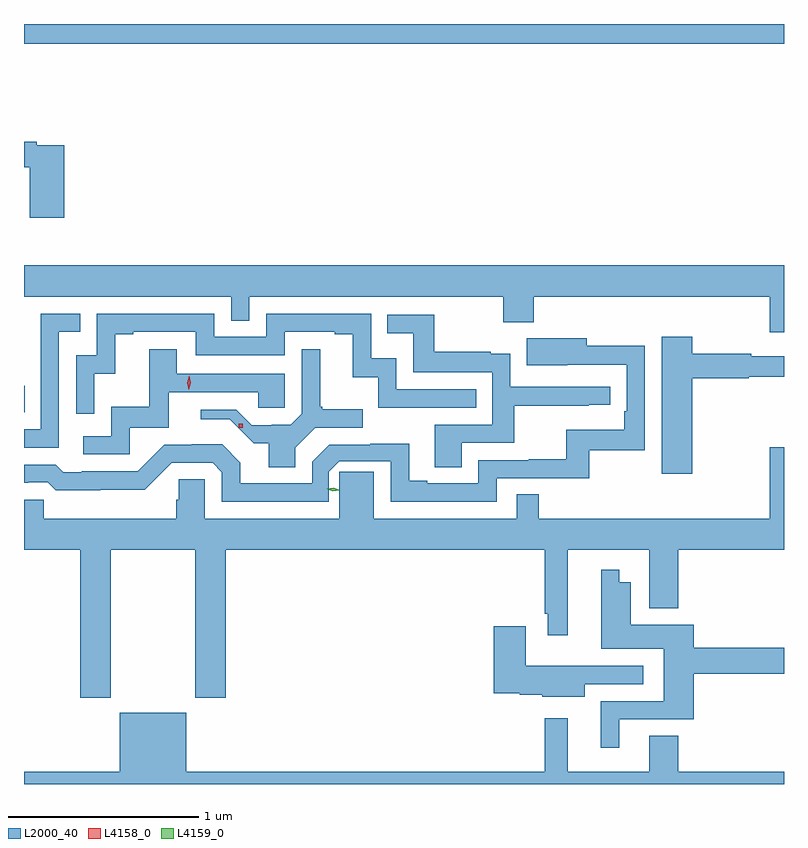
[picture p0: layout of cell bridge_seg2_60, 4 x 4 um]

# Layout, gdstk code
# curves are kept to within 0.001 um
import gdstk
lib = gdstk.Library(unit=1e-6, precision=1e-09)
def R(c, l, rs):  # rectangles x0, y0, x1, y1
    for r in rs: c.add(gdstk.rectangle(r[:2], r[2:], *l))
def P(c, l, *ps):  # polygons
    for p in ps: c.add(gdstk.Polygon(p, *l))
L2000_40 = (2000, 40)
L4158_0 = (4158, 0)
L4159_0 = (4159, 0)

bridge_seg2_60 = lib.new_cell('bridge_seg2_60')
R(bridge_seg2_60, L2000_40, [(1000.244,629.711,1000.247,629.851), (1000.244,631.652,1004.244,631.755)])
P(bridge_seg2_60, L2000_40, [(1000.457,631.116),(1000.31,631.116),(1000.31,631.136),(1000.244,631.136),(1000.244,631),(1000.274,631),(1000.274,630.735),(1000.457,630.735)],
  [(1004.244,630.484),(1000.244,630.484),(1000.244,630.32),(1001.334,630.32),(1001.334,630.193),(1001.43,630.193),(1001.43,630.32),(1002.766,630.32),(1002.766,630.185),(1002.926,630.185),(1002.926,630.32),(1004.168,630.32),(1004.168,630.132),(1004.244,630.132)],
  [(1000.428,630.135),(1000.541,630.135),(1000.541,630.231),(1000.332,630.231),(1000.332,629.622),(1000.244,629.622),(1000.244,629.526),(1000.428,629.526)],
  [(1000.614,629.915),(1000.724,629.915),(1000.724,630.123),(1000.819,630.123),(1000.819,630.135),(1001.148,630.135),(1001.148,630.012),(1001.616,630.012),(1001.616,630.135),(1001.879,630.135),(1001.879,630.123),(1001.975,630.123),(1001.975,629.897),(1002.108,629.897),(1002.108,629.736),(1002.623,629.736),(1002.623,629.832),(1002.204,629.832),(1002.204,629.995),(1002.072,629.995),(1002.072,630.231),(1001.52,630.231),(1001.52,630.108),(1001.244,630.108),(1001.244,630.231),(1000.626,630.231),(1000.626,630.012),(1000.518,630.012),(1000.518,629.703),(1000.614,629.703)],
  [(1002.547,629.55),(1002.824,629.55),(1002.824,629.746),(1003.217,629.746),(1003.217,629.751),(1003.33,629.751),(1003.33,629.847),(1002.804,629.847),(1002.804,630.019),(1002.701,630.019),(1002.701,630.031),(1002.403,630.031),(1002.403,630.225),(1002.157,630.225),(1002.157,630.128),(1002.292,630.128),(1002.292,629.922),(1002.708,629.922),(1002.708,629.646),(1002.407,629.646),(1002.407,629.422),(1002.547,629.422)],
  [(1003.762,629.89),(1004.058,629.89),(1004.058,629.898),(1004.244,629.898),(1004.244,630.006),(1004.072,630.006),(1004.072,630.019),(1003.762,630.019),(1003.762,630.109),(1003.601,630.109),(1003.601,629.388),(1003.762,629.388)],
  [(1001.849,629.398),(1001.903,629.453),(1002.174,629.453),(1002.174,629.241),(1002.732,629.241),(1002.732,629.364),(1003.219,629.364),(1003.219,629.511),(1003.512,629.511),(1003.512,630.062),(1003.207,630.062),(1003.207,630.1),(1002.889,630.1),(1002.889,629.96),(1003.416,629.961),(1003.416,629.716),(1003.403,629.716),(1003.403,629.62),(1003.098,629.62),(1003.098,629.465),(1002.901,629.465),(1002.901,629.46),(1002.636,629.46),(1002.636,629.337),(1002.367,629.337),(1002.367,629.35),(1002.271,629.35),(1002.271,629.545),(1002.066,629.545),(1002.066,629.541),(1001.85,629.541),(1001.76,629.451),(1001.76,629.337),(1001.383,629.337),(1001.383,629.447),(1001.288,629.542),(1000.983,629.541),(1000.842,629.4),(1000.549,629.4),(1000.549,629.397),(1000.45,629.397),(1000.411,629.436),(1000.244,629.436),(1000.244,629.34),(1000.266,629.34),(1000.266,629.343),(1000.369,629.343),(1000.411,629.301),(1000.644,629.301),(1000.644,629.303),(1000.88,629.303),(1001.022,629.445),(1001.238,629.445),(1001.286,629.397),(1001.286,629.241),(1001.849,629.241)],
  [(1001.671,629.524),(1001.778,629.631),(1002.028,629.631),(1002.028,629.728),(1001.815,629.728),(1001.815,629.74),(1001.803,629.74),(1001.803,630.043),(1001.706,630.043),(1001.706,629.703),(1001.649,629.646),(1001.547,629.646),(1001.547,629.643),(1001.442,629.643),(1001.361,629.724),(1001.175,629.724),(1001.175,629.675),(1001.326,629.675),(1001.452,629.549),(1001.531,629.549),(1001.531,629.422),(1001.671,629.422)],
  [(1000.8,629.631),(1001.005,629.631),(1001.005,629.817),(1001.478,629.817),(1001.478,629.734),(1001.616,629.734),(1001.616,629.913),(1001.047,629.913),(1001.047,630.043),(1000.903,630.043),(1000.903,629.74),(1000.704,629.74),(1000.704,629.586),(1000.557,629.586),(1000.557,629.49),(1000.8,629.49)],
  [(1000.701,628.988),(1001.146,628.988),(1001.146,628.209),(1001.306,628.209),(1001.306,628.988),(1002.984,628.988),(1002.984,628.651),(1003.001,628.651),(1003.001,628.539),(1003.105,628.539),(1003.105,628.988),(1003.535,628.988),(1003.535,628.679),(1003.688,628.679),(1003.688,628.988),(1004.244,628.988),(1004.244,629.527),(1004.168,629.527),(1004.168,629.152),(1002.953,629.152),(1002.953,629.279),(1002.837,629.279),(1002.837,629.152),(1002.085,629.152),(1002.085,629.398),(1001.903,629.398),(1001.903,629.152),(1001.196,629.152),(1001.196,629.36),(1001.059,629.36),(1001.059,629.25),(1001.045,629.25),(1001.045,629.152),(1000.347,629.152),(1000.347,629.25),(1000.244,629.25),(1000.244,628.988),(1000.541,628.988),(1000.541,628.209),(1000.701,628.209)],
  [(1003.378,628.095),(1003.769,628.095),(1003.769,628.336),(1004.244,628.336),(1004.244,628.472),(1003.769,628.472),(1003.769,628.594),(1003.438,628.594),(1003.438,628.816),(1003.378,628.816),(1003.378,628.882),(1003.281,628.882),(1003.281,628.466),(1003.61,628.466),(1003.61,628.191),(1003.28,628.191),(1003.28,627.945),(1003.378,627.945)],
  [(1003.195,628.281),(1003.504,628.281),(1003.504,628.377),(1003.191,628.377),(1003.191,628.378),(1002.886,628.378),(1002.886,628.585),(1002.716,628.585),(1002.716,628.232),(1002.852,628.232),(1002.852,628.225),(1002.972,628.225),(1002.972,628.214),(1003.195,628.214)],
  [(1004.244,627.82),(1003.688,627.82),(1003.688,628.01),(1003.535,628.01),(1003.535,627.82),(1003.105,627.82),(1003.105,628.102),(1002.984,628.102),(1002.984,627.82),(1001.098,627.82),(1001.098,628.129),(1000.748,628.129),(1000.748,627.82),(1000.244,627.82),(1000.244,627.755),(1004.244,627.755)])
R(bridge_seg2_60, L4158_0, [(1001.375,629.63,1001.395,629.65)])
P(bridge_seg2_60, L4158_0, [(1001.111,629.831),(1001.111,629.831),(1001.102,629.868),(1001.113,629.903),(1001.114,629.903),(1001.114,629.903),(1001.122,629.867),(1001.111,629.831)])
P(bridge_seg2_60, L4159_0, [(1001.87,629.295),(1001.838,629.308),(1001.838,629.308),(1001.838,629.308),(1001.873,629.315),(1001.905,629.302),(1001.905,629.301),(1001.905,629.301)])

lib.write_gds('bridge_seg2_60.gds')
